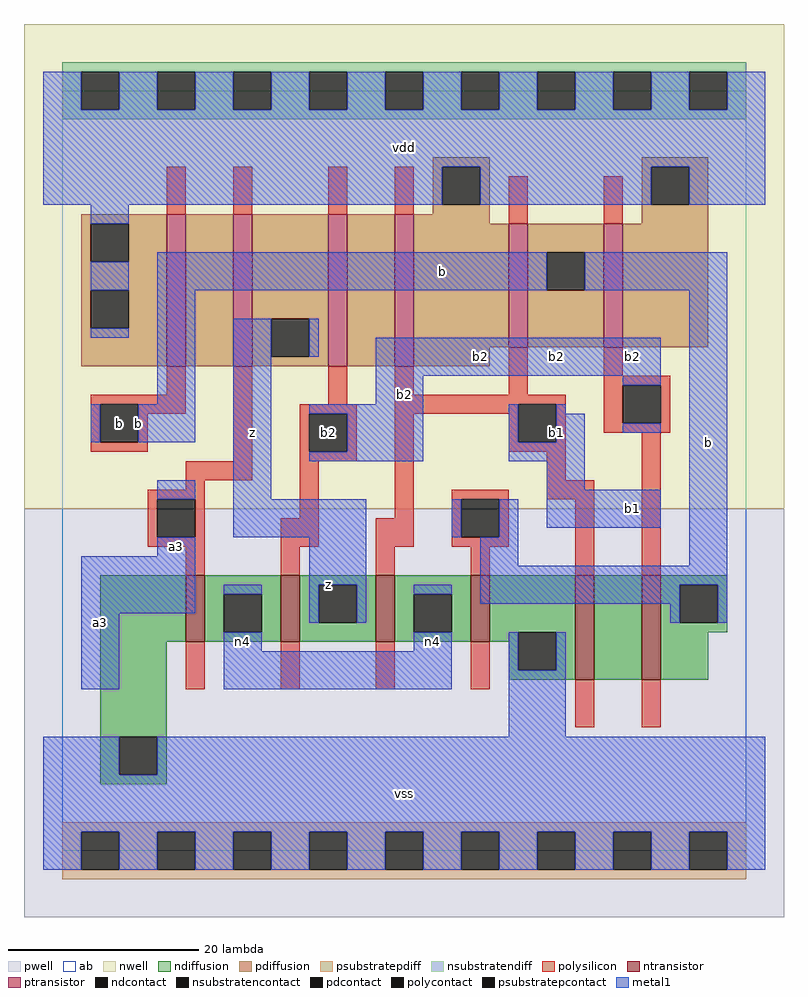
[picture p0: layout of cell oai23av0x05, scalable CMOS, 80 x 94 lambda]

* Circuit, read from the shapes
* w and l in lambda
.subckt oai23av0x05 a3 b b1 b2 n4 vdd vss z
M1 n4 a3 vss vss nfet w=7 l=2
M2 z b2 n4 vss nfet w=7 l=2
M3 n4 b1 z vss nfet w=7 l=2
M4 vss b n4 vss nfet w=7 l=2
M5 n1 b1 vss vss nfet w=11 l=2
M6 b b2 n1 vss nfet w=11 l=2
M7 n2 b vdd vdd pfet w=16 l=2
M8 z a3 n2 vdd pfet w=16 l=2
M9 n3 b2 z vdd pfet w=16 l=2
M10 vdd b1 n3 vdd pfet w=16 l=2
M11 b b1 vdd vdd pfet w=13 l=2
M12 vdd b2 b vdd pfet w=13 l=2
.ends

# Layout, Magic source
magic
tech scmos
<< ab >>
rect 0 0 72 80
<< pwell >>
rect -4 -7 76 36
<< nwell >>
rect -4 36 76 87
<< polysilicon >>
rect 11 67 13 72
rect 18 67 20 72
rect 28 67 30 72
rect 35 67 37 72
rect 47 66 49 71
rect 57 66 59 71
rect 11 48 13 51
rect 3 47 13 48
rect 3 43 4 47
rect 8 46 13 47
rect 8 43 9 46
rect 3 42 9 43
rect 18 41 20 51
rect 28 47 30 51
rect 35 48 37 51
rect 47 48 49 53
rect 57 50 59 53
rect 57 49 64 50
rect 35 47 53 48
rect 13 39 20 41
rect 25 46 31 47
rect 25 42 26 46
rect 30 42 31 46
rect 25 41 31 42
rect 35 46 48 47
rect 13 38 15 39
rect 9 37 15 38
rect 9 33 10 37
rect 14 33 15 37
rect 25 35 27 41
rect 35 35 37 46
rect 47 43 48 46
rect 52 43 53 47
rect 57 45 59 49
rect 63 45 64 49
rect 57 44 64 45
rect 47 42 53 43
rect 51 39 53 42
rect 9 32 15 33
rect 13 29 15 32
rect 23 32 27 35
rect 33 32 37 35
rect 41 37 47 38
rect 51 37 56 39
rect 41 33 42 37
rect 46 33 47 37
rect 41 32 47 33
rect 23 29 25 32
rect 33 29 35 32
rect 43 29 45 32
rect 54 29 56 37
rect 61 29 63 44
rect 13 17 15 22
rect 23 17 25 22
rect 33 17 35 22
rect 43 17 45 22
rect 54 13 56 18
rect 61 13 63 18
<< ndiffusion >>
rect 4 22 13 29
rect 15 27 23 29
rect 15 23 17 27
rect 21 23 23 27
rect 15 22 23 23
rect 25 28 33 29
rect 25 24 27 28
rect 31 24 33 28
rect 25 22 33 24
rect 35 27 43 29
rect 35 23 37 27
rect 41 23 43 27
rect 35 22 43 23
rect 45 23 54 29
rect 45 22 48 23
rect 4 12 11 22
rect 47 19 48 22
rect 52 19 54 23
rect 47 18 54 19
rect 56 18 61 29
rect 63 28 70 29
rect 63 24 65 28
rect 69 24 70 28
rect 63 23 70 24
rect 63 18 68 23
rect 4 8 6 12
rect 10 8 11 12
rect 4 7 11 8
<< pdiffusion >>
rect 39 72 45 73
rect 39 68 40 72
rect 44 68 45 72
rect 61 72 68 73
rect 39 67 45 68
rect 2 66 11 67
rect 2 62 3 66
rect 7 62 11 66
rect 2 59 11 62
rect 2 55 3 59
rect 7 55 11 59
rect 2 51 11 55
rect 13 51 18 67
rect 20 56 28 67
rect 20 52 22 56
rect 26 52 28 56
rect 20 51 28 52
rect 30 51 35 67
rect 37 66 45 67
rect 61 68 62 72
rect 66 68 68 72
rect 61 66 68 68
rect 37 53 47 66
rect 49 63 57 66
rect 49 59 51 63
rect 55 59 57 63
rect 49 53 57 59
rect 59 53 68 66
rect 37 51 45 53
<< metal1 >>
rect -2 78 2 82
rect 6 78 10 82
rect 14 78 18 82
rect 22 78 26 82
rect 30 78 34 82
rect 38 78 42 82
rect 46 78 50 82
rect 54 78 58 82
rect 62 78 66 82
rect 70 78 74 82
rect -2 72 74 78
rect -2 68 40 72
rect 44 68 62 72
rect 66 68 74 72
rect 3 66 7 68
rect 3 59 7 62
rect 3 54 7 55
rect 10 59 51 63
rect 55 59 70 63
rect 10 47 14 59
rect 3 43 4 47
rect 8 43 14 47
rect 10 37 14 39
rect 18 37 22 56
rect 26 52 27 56
rect 33 50 63 54
rect 33 47 38 50
rect 59 49 63 50
rect 26 46 38 47
rect 30 42 38 46
rect 26 41 38 42
rect 47 43 48 47
rect 52 46 53 47
rect 52 43 55 46
rect 59 44 63 45
rect 47 41 55 43
rect 51 38 55 41
rect 18 33 32 37
rect 41 33 42 37
rect 46 33 48 37
rect 51 34 63 38
rect 10 31 14 33
rect 2 25 14 31
rect 26 28 32 33
rect 44 30 48 33
rect 66 30 70 59
rect 44 28 70 30
rect 17 27 21 28
rect 2 17 6 25
rect 26 24 27 28
rect 31 24 32 28
rect 37 27 41 28
rect 17 21 21 23
rect 44 26 65 28
rect 64 24 65 26
rect 69 24 70 28
rect 37 21 41 23
rect 17 17 41 21
rect 47 19 48 23
rect 52 19 53 23
rect 47 12 53 19
rect -2 8 6 12
rect 10 8 74 12
rect -2 2 74 8
rect -2 -2 2 2
rect 6 -2 10 2
rect 14 -2 18 2
rect 22 -2 26 2
rect 30 -2 34 2
rect 38 -2 42 2
rect 46 -2 50 2
rect 54 -2 58 2
rect 62 -2 66 2
rect 70 -2 74 2
<< ntransistor >>
rect 13 22 15 29
rect 23 22 25 29
rect 33 22 35 29
rect 43 22 45 29
rect 54 18 56 29
rect 61 18 63 29
<< ptransistor >>
rect 11 51 13 67
rect 18 51 20 67
rect 28 51 30 67
rect 35 51 37 67
rect 47 53 49 66
rect 57 53 59 66
<< polycontact >>
rect 4 43 8 47
rect 26 42 30 46
rect 10 33 14 37
rect 48 43 52 47
rect 59 45 63 49
rect 42 33 46 37
<< ndcontact >>
rect 17 23 21 27
rect 27 24 31 28
rect 37 23 41 27
rect 48 19 52 23
rect 65 24 69 28
rect 6 8 10 12
<< pdcontact >>
rect 40 68 44 72
rect 3 62 7 66
rect 3 55 7 59
rect 22 52 26 56
rect 62 68 66 72
rect 51 59 55 63
<< psubstratepcontact >>
rect 2 -2 6 2
rect 10 -2 14 2
rect 18 -2 22 2
rect 26 -2 30 2
rect 34 -2 38 2
rect 42 -2 46 2
rect 50 -2 54 2
rect 58 -2 62 2
rect 66 -2 70 2
<< nsubstratencontact >>
rect 2 78 6 82
rect 10 78 14 82
rect 18 78 22 82
rect 26 78 30 82
rect 34 78 38 82
rect 42 78 46 82
rect 50 78 54 82
rect 58 78 62 82
rect 66 78 70 82
<< psubstratepdiff >>
rect 0 2 72 3
rect 0 -2 2 2
rect 6 -2 10 2
rect 14 -2 18 2
rect 22 -2 26 2
rect 30 -2 34 2
rect 38 -2 42 2
rect 46 -2 50 2
rect 54 -2 58 2
rect 62 -2 66 2
rect 70 -2 72 2
rect 0 -3 72 -2
<< nsubstratendiff >>
rect 0 82 72 83
rect 0 78 2 82
rect 6 78 10 82
rect 14 78 18 82
rect 22 78 26 82
rect 30 78 34 82
rect 38 78 42 82
rect 46 78 50 82
rect 54 78 58 82
rect 62 78 66 82
rect 70 78 72 82
rect 0 77 72 78
<< labels >>
rlabel polycontact 6 45 6 45 6 b
rlabel metal1 4 24 4 24 6 a3
rlabel metal1 19 22 19 22 6 n4
rlabel metal1 12 32 12 32 6 a3
rlabel metal1 8 45 8 45 6 b
rlabel metal1 20 44 20 44 6 z
rlabel metal1 36 6 36 6 6 vss
rlabel metal1 28 28 28 28 6 z
rlabel metal1 39 22 39 22 6 n4
rlabel polycontact 28 44 28 44 6 b2
rlabel metal1 36 48 36 48 6 b2
rlabel metal1 36 74 36 74 6 vdd
rlabel metal1 52 44 52 44 6 b1
rlabel metal1 52 52 52 52 6 b2
rlabel metal1 44 52 44 52 6 b2
rlabel metal1 60 36 60 36 6 b1
rlabel metal1 60 52 60 52 6 b2
rlabel metal1 68 43 68 43 6 b
rlabel metal1 40 61 40 61 6 b
<< end >>
